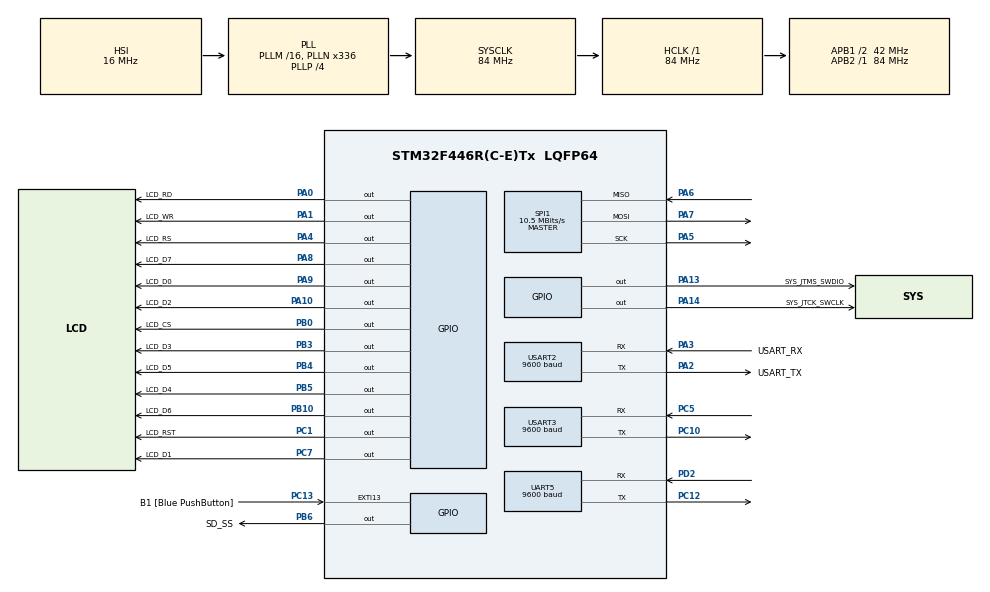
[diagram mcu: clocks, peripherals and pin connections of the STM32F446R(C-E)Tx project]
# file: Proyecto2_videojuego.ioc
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Dma.Request0=USART2_RX
Dma.Request1=USART2_TX
Dma.Request2=USART3_TX
Dma.Request3=USART3_RX
Dma.Request4=UART5_RX
Dma.Request5=UART5_TX
Dma.UART5_RX.4.Direction=DMA_PERIPH_TO_MEMORY
Dma.UART5_RX.4.FIFOMode=DMA_FIFOMODE_DISABLE
Dma.UART5_RX.4.Instance=DMA1_Stream0
Dma.UART5_RX.4.MemDataAlignment=DMA_MDATAALIGN_BYTE
Dma.UART5_RX.4.MemInc=DMA_MINC_ENABLE
Dma.UART5_RX.4.Mode=DMA_NORMAL
Dma.UART5_RX.4.PeriphDataAlignment=DMA_PDATAALIGN_BYTE
Dma.UART5_RX.4.PeriphInc=DMA_PINC_DISABLE
Dma.UART5_RX.4.Priority=DMA_PRIORITY_LOW
Dma.UART5_TX.5.Direction=DMA_MEMORY_TO_PERIPH
Dma.UART5_TX.5.FIFOMode=DMA_FIFOMODE_DISABLE
Dma.UART5_TX.5.Instance=DMA1_Stream7
Dma.UART5_TX.5.MemDataAlignment=DMA_MDATAALIGN_BYTE
Dma.UART5_TX.5.MemInc=DMA_MINC_ENABLE
Dma.UART5_TX.5.Mode=DMA_NORMAL
Dma.UART5_TX.5.PeriphDataAlignment=DMA_PDATAALIGN_BYTE
Dma.UART5_TX.5.PeriphInc=DMA_PINC_DISABLE
Dma.UART5_TX.5.Priority=DMA_PRIORITY_LOW
Dma.USART2_RX.0.Direction=DMA_PERIPH_TO_MEMORY
Dma.USART2_RX.0.FIFOMode=DMA_FIFOMODE_DISABLE
Dma.USART2_RX.0.Instance=DMA1_Stream5
Dma.USART2_RX.0.MemDataAlignment=DMA_MDATAALIGN_BYTE
Dma.USART2_RX.0.MemInc=DMA_MINC_ENABLE
Dma.USART2_RX.0.Mode=DMA_NORMAL
Dma.USART2_RX.0.PeriphDataAlignment=DMA_PDATAALIGN_BYTE
Dma.USART2_RX.0.PeriphInc=DMA_PINC_DISABLE
Dma.USART2_RX.0.Priority=DMA_PRIORITY_LOW
Dma.USART2_TX.1.Direction=DMA_MEMORY_TO_PERIPH
Dma.USART2_TX.1.FIFOMode=DMA_FIFOMODE_DISABLE
Dma.USART2_TX.1.Instance=DMA1_Stream6
Dma.USART2_TX.1.MemDataAlignment=DMA_MDATAALIGN_BYTE
Dma.USART2_TX.1.MemInc=DMA_MINC_ENABLE
Dma.USART2_TX.1.Mode=DMA_NORMAL
Dma.USART2_TX.1.PeriphDataAlignment=DMA_PDATAALIGN_BYTE
Dma.USART2_TX.1.PeriphInc=DMA_PINC_DISABLE
Dma.USART2_TX.1.Priority=DMA_PRIORITY_LOW
Dma.USART3_RX.3.Direction=DMA_PERIPH_TO_MEMORY
Dma.USART3_RX.3.FIFOMode=DMA_FIFOMODE_DISABLE
Dma.USART3_RX.3.Instance=DMA1_Stream1
Dma.USART3_RX.3.MemDataAlignment=DMA_MDATAALIGN_BYTE
Dma.USART3_RX.3.MemInc=DMA_MINC_ENABLE
Dma.USART3_RX.3.Mode=DMA_NORMAL
Dma.USART3_RX.3.PeriphDataAlignment=DMA_PDATAALIGN_BYTE
Dma.USART3_RX.3.PeriphInc=DMA_PINC_DISABLE
Dma.USART3_RX.3.Priority=DMA_PRIORITY_LOW
Dma.USART3_TX.2.Direction=DMA_MEMORY_TO_PERIPH
Dma.USART3_TX.2.FIFOMode=DMA_FIFOMODE_DISABLE
Dma.USART3_TX.2.Instance=DMA1_Stream3
Dma.USART3_TX.2.MemDataAlignment=DMA_MDATAALIGN_BYTE
Dma.USART3_TX.2.MemInc=DMA_MINC_ENABLE
Dma.USART3_TX.2.Mode=DMA_NORMAL
Dma.USART3_TX.2.PeriphDataAlignment=DMA_PDATAALIGN_BYTE
Dma.USART3_TX.2.PeriphInc=DMA_PINC_DISABLE
Dma.USART3_TX.2.Priority=DMA_PRIORITY_LOW
FATFS._MAX_SS=4096
FATFS._USE_LFN=1
Mcu.Family=STM32F4
Mcu.Name=STM32F446R(C-E)Tx
Mcu.Package=LQFP64
NVIC.DMA1_Stream0_IRQn=true\:0\:0\:false\:false\:true\:false\:true\:true
NVIC.DMA1_Stream1_IRQn=true\:0\:0\:false\:false\:true\:false\:true\:true
NVIC.DMA1_Stream3_IRQn=true\:0\:0\:false\:false\:true\:false\:true\:true
NVIC.DMA1_Stream5_IRQn=true\:0\:0\:false\:false\:true\:false\:true\:true
NVIC.DMA1_Stream6_IRQn=true\:0\:0\:false\:false\:true\:false\:true\:true
NVIC.DMA1_Stream7_IRQn=true\:0\:0\:false\:false\:true\:false\:true\:true
NVIC.PriorityGroup=NVIC_PRIORITYGROUP_0
PA0-WKUP.GPIO_Label=LCD_RD
PA0-WKUP.Signal=GPIO_Output
PA1.GPIO_Label=LCD_WR
PA1.Signal=GPIO_Output
PA10.GPIO_Label=LCD_D2
PA10.Signal=GPIO_Output
PA13.GPIO_Label=SYS_JTMS_SWDIO
PA13.Signal=GPIO_Output
PA14.GPIO_Label=SYS_JTCK_SWCLK
PA14.Signal=GPIO_Output
PA2.GPIO_Label=USART_TX
PA2.Mode=Asynchronous
PA2.Signal=USART2_TX
PA3.GPIO_Label=USART_RX
PA3.Mode=Asynchronous
PA3.Signal=USART2_RX
PA4.GPIO_Label=LCD_RS
PA4.Signal=GPIO_Output
PA5.Mode=Full_Duplex_Master
PA5.Signal=SPI1_SCK
PA6.Mode=Full_Duplex_Master
PA6.Signal=SPI1_MISO
PA7.Mode=Full_Duplex_Master
PA7.Signal=SPI1_MOSI
PA8.GPIO_Label=LCD_D7
PA8.Signal=GPIO_Output
PA9.GPIO_Label=LCD_D0
PA9.Signal=GPIO_Output
PB0.GPIO_Label=LCD_CS
PB0.Signal=GPIO_Output
PB10.GPIO_Label=LCD_D6
PB10.Signal=GPIO_Output
PB3.GPIO_Label=LCD_D3
PB3.Signal=GPIO_Output
PB4.GPIO_Label=LCD_D5
PB4.Signal=GPIO_Output
PB5.GPIO_Label=LCD_D4
PB5.Signal=GPIO_Output
PB6.GPIO_Label=SD_SS
PB6.Signal=GPIO_Output
PC1.GPIO_Label=LCD_RST
PC1.Signal=GPIO_Output
PC10.Mode=Asynchronous
PC10.Signal=USART3_TX
PC12.Mode=Asynchronous
PC12.Signal=UART5_TX
PC13.GPIO_Label=B1 [Blue PushButton]
PC13.GPIO_ModeDefaultEXTI=GPIO_MODE_IT_FALLING
PC13.Signal=GPXTI13
PC14-OSC32_IN.Mode=LSE-External-Oscillator
PC14-OSC32_IN.Signal=RCC_OSC32_IN
PC15-OSC32_OUT.Mode=LSE-External-Oscillator
PC15-OSC32_OUT.Signal=RCC_OSC32_OUT
PC5.Mode=Asynchronous
PC5.Signal=USART3_RX
PC7.GPIO_Label=LCD_D1
PC7.Signal=GPIO_Output
PD2.Mode=Asynchronous
PD2.Signal=UART5_RX
PH0-OSC_IN.Mode=HSE-External-Oscillator
PH0-OSC_IN.Signal=RCC_OSC_IN
PH1-OSC_OUT.Mode=HSE-External-Oscillator
PH1-OSC_OUT.Signal=RCC_OSC_OUT
ProjectManager.HeapSize=0x200
ProjectManager.StackSize=0x400
ProjectManager.TargetToolchain=STM32CubeIDE
RCC.48MHZClocksFreq_Value=84000000
RCC.AHBFreq_Value=84000000
RCC.APB1CLKDivider=RCC_HCLK_DIV2
RCC.APB1Freq_Value=42000000
RCC.APB1TimFreq_Value=84000000
RCC.APB2Freq_Value=84000000
RCC.APB2TimFreq_Value=84000000
RCC.CortexFreq_Value=84000000
RCC.FLatency-AdvancedSettings=FLASH_LATENCY_2
RCC.HCLKFreq_Value=84000000
RCC.HSE_VALUE=8000000
RCC.HSI_VALUE=16000000
RCC.PLLN=336
RCC.PLLP=RCC_PLLP_DIV4
RCC.SYSCLKFreq_VALUE=84000000
RCC.SYSCLKSource=RCC_SYSCLKSOURCE_PLLCLK
RCC.USBFreq_Value=168000000
RCC.VCOOutputFreq_Value=336000000
SPI1.BaudRatePrescaler=SPI_BAUDRATEPRESCALER_8
SPI1.CalculateBaudRate=10.5 MBits/s
SPI1.Direction=SPI_DIRECTION_2LINES
SPI1.Mode=SPI_MODE_MASTER
SPI1.VirtualType=VM_MASTER
UART5.BaudRate=9600
UART5.VirtualMode=Asynchronous
USART2.BaudRate=9600
USART2.VirtualMode=VM_ASYNC
USART3.BaudRate=9600
USART3.VirtualMode=VM_ASYNC
VP_FATFS_VS_Generic.Mode=User_defined
board=NUCLEO-F446RE

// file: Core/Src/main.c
/* USER CODE BEGIN Header */
/**
  ******************************************************************************
  * @file           : main.c
  * @brief          : Main program body
  ******************************************************************************
  * @attention
  *
  * Copyright (c) 2025 STMicroelectronics.
  * All rights reserved.
  *
  * This software is licensed under terms that can be found in the LICENSE file
  * in the root directory of this software component.
  * If no LICENSE file comes with this software, it is provided AS-IS.
  *
  ******************************************************************************
  */
/* USER CODE END Header */
#include "main.h"
#include "fatfs.h"

/* USER CODE BEGIN Includes */
#include <stdio.h>
#include <string.h>
#include "ili9341.h"
#include "Bitmaps.h"

#include "fatfs_sd.h"
#include "string.h"
#include "stdio.h"
/* USER CODE END Includes */

/* USER CODE BEGIN PD */

// COSAS PARA LA LECTURA DE LA TARJETA SD
FATFS fs;
FATFS *pfs;
FIL fil;
FRESULT fres;
DWORD fre_clust;
uint32_t totalSpace, freeSpace;
char buffer1[100];

/* USER CODE END PD */

SPI_HandleTypeDef hspi1;

UART_HandleTypeDef huart5;
UART_HandleTypeDef huart2;
UART_HandleTypeDef huart3;
DMA_HandleTypeDef hdma_uart5_rx;
DMA_HandleTypeDef hdma_uart5_tx;
DMA_HandleTypeDef hdma_usart2_rx;
DMA_HandleTypeDef hdma_usart2_tx;
DMA_HandleTypeDef hdma_usart3_tx;
DMA_HandleTypeDef hdma_usart3_rx;

/* USER CODE BEGIN PV */
extern unsigned char fondo[];

uint16_t buffer[10];
uint8_t temp[2];
uint16_t indx  = 0;
uint8_t flag_up = 0;
uint8_t flag_down = 0;
uint8_t flag_left = 0;
uint8_t flag_right = 0;
uint8_t flag_A = 0;
uint8_t flag_B = 0;
uint8_t flag_Start  = 0;
uint8_t flag_Select = 0;

uint8_t Up[] = "Up\r\n";
   uint8_t Down[] = "Down\r\n";
   uint8_t Left[] = "Left\r\n";
   uint8_t Right[] = "Right\r\n";
   uint8_t A[] = "A\r\n";
   uint8_t B[] = "B\r\n";
   uint8_t Hola[] = "Hola\r\n";

   // Coordenadas X y Y iniciales y otros valores constantes de samus al iniciar el juego
   const uint8_t x0 = 100;
   const uint8_t y0 = 175;
   const uint8_t h = 111; //175 - 64 (el doble de la altura de samus)

   //Coordenadas de Ridley
   const uint8_t x0r = 250;
   const uint8_t y0r = 162;
   uint8_t xr = 250;
   uint8_t yr = 162;

   //Coordenas X y Y que varían según la acción del control
   uint8_t xf = 100;
   uint8_t yf = 175;

   uint8_t flag_title = 0;

   uint8_t Estado_de_juego = 0;
#define INTRO 1
#define TRANSITION1 2
#define JUEGO 3
#define PAUSE 4
#define GameOver 5

uint8_t pruebas []= "pruebas.txt";

/* USER CODE END PV */

void SystemClock_Config(void);
static void MX_GPIO_Init(void);
static void MX_DMA_Init(void);
static void MX_USART2_UART_Init(void);
static void MX_SPI1_Init(void);
static void MX_USART3_UART_Init(void);
static void MX_UART5_Init(void);
/* USER CODE BEGIN PFP */

void MECHANICS(void);
void MECHANICS_Ridley(void);

//FUNCIÓN PARA MOSTRAR ESTADOS DE LECTURA DE LA TARJETA SD
void transmit_uart(char *string){
	uint8_t len = strlen(string);
	HAL_UART_Transmit(&huart2, (uint8_t*) string , len, 200);
}

/* USER CODE END PFP */

int main(void)
{

  /* MCU Configuration--------------------------------------------------------*/

  /* Reset of all peripherals, Initializes the Flash interface and the Systick. */
  HAL_Init();

  /* Configure the system clock */
  SystemClock_Config();

  /* Initialize all configured peripherals */
  MX_GPIO_Init();
  MX_DMA_Init();
  MX_USART2_UART_Init();
  MX_SPI1_Init();
  MX_USART3_UART_Init();
  MX_FATFS_Init();
  MX_UART5_Init();
  /* USER CODE BEGIN 2 */

    LCD_Init();

  	LCD_Clear(0x00);
  	FillRect(0, 0, 319, 239, 0xFFFF);

  	Estado_de_juego = INTRO;
  	//LCD_Sprite(0, 0, 319, 240, Title_screen_1, 1, 0, 0, 0);
  	HAL_Delay(100);

  	HAL_UART_Receive_DMA(&huart2, temp, 1);
  	HAL_UART_Receive_DMA(&huart3, temp, 1);

  	//Condiciones iniciles
  	xf = x0;
  	yf = y0;

  	xr = x0r;
  	yr = y0r;

  /* USER CODE END 2 */

  /* Infinite loop */
  /* USER CODE BEGIN WHILE */
  while (1)
  {

	  switch (Estado_de_juego){
	  case INTRO:

		  HAL_UART_Transmit(&huart5, 1, 8, HAL_MAX_DELAY);

		  LCD_Sprite(0, 0, 319, 240, Title_screen_8, 1, 0, 0, 0);

		  if (flag_title == 1){
			  Estado_de_juego = TRANSITION1;
		  }

		  HAL_Delay(100);
		  break;
	  case TRANSITION1:
		  FillRect(0, 0, 319, 206, 0x0000);
		  for (int x = 0; x < 319; x++) {
		    LCD_Bitmap(x, 207, 16, 16, tile_brinstar1);
		    LCD_Bitmap(x, 223, 16, 16, tile_brinstar1);
		    x += 15;
		  }

		  Estado_de_juego = JUEGO;
		  break;

	  case JUEGO:
		  HAL_UART_Transmit(&huart5, 2, 8,HAL_MAX_DELAY);
		  MECHANICS_Ridley();
		  MECHANICS();

	  	  break;
	  case GameOver:
		  LCD_Clear(0x00);
		  //FillRect(0, 0, 319, 239, 0xFFFF);
		  LCD_Sprite(159, 120, 81, 9, GameOver, 1, 0, 0, 0);
		  HAL_Delay(1000);
		  Estado_de_juego = INTRO;

		  break;

	  }

    /* USER CODE END WHILE */

  }
}

void SystemClock_Config(void)
{
  RCC_OscInitTypeDef RCC_OscInitStruct = {0};
  RCC_ClkInitTypeDef RCC_ClkInitStruct = {0};

  /** Configure the main internal regulator output voltage
  */
  __HAL_RCC_PWR_CLK_ENABLE();
  __HAL_PWR_VOLTAGESCALING_CONFIG(PWR_REGULATOR_VOLTAGE_SCALE3);

  /** Initializes the RCC Oscillators according to the specified parameters
  * in the RCC_OscInitTypeDef structure.
  */
  RCC_OscInitStruct.OscillatorType = RCC_OSCILLATORTYPE_HSI;
  RCC_OscInitStruct.HSIState = RCC_HSI_ON;
  RCC_OscInitStruct.HSICalibrationValue = RCC_HSICALIBRATION_DEFAULT;
  RCC_OscInitStruct.PLL.PLLState = RCC_PLL_ON;
  RCC_OscInitStruct.PLL.PLLSource = RCC_PLLSOURCE_HSI;
  RCC_OscInitStruct.PLL.PLLM = 16;
  RCC_OscInitStruct.PLL.PLLN = 336;
  RCC_OscInitStruct.PLL.PLLP = RCC_PLLP_DIV4;
  RCC_OscInitStruct.PLL.PLLQ = 2;
  RCC_OscInitStruct.PLL.PLLR = 2;
  if (HAL_RCC_OscConfig(&RCC_OscInitStruct) != HAL_OK)
  {
    Error_Handler();
  }

  /** Initializes the CPU, AHB and APB buses clocks
  */
  RCC_ClkInitStruct.ClockType = RCC_CLOCKTYPE_HCLK|RCC_CLOCKTYPE_SYSCLK
                              |RCC_CLOCKTYPE_PCLK1|RCC_CLOCKTYPE_PCLK2;
  RCC_ClkInitStruct.SYSCLKSource = RCC_SYSCLKSOURCE_PLLCLK;
  RCC_ClkInitStruct.AHBCLKDivider = RCC_SYSCLK_DIV1;
  RCC_ClkInitStruct.APB1CLKDivider = RCC_HCLK_DIV2;
  RCC_ClkInitStruct.APB2CLKDivider = RCC_HCLK_DIV1;

  if (HAL_RCC_ClockConfig(&RCC_ClkInitStruct, FLASH_LATENCY_2) != HAL_OK)
  {
    Error_Handler();
  }
}

static void MX_SPI1_Init(void)
{

  /* SPI1 parameter configuration*/
  hspi1.Instance = SPI1;
  hspi1.Init.Mode = SPI_MODE_MASTER;
  hspi1.Init.Direction = SPI_DIRECTION_2LINES;
  hspi1.Init.DataSize = SPI_DATASIZE_8BIT;
  hspi1.Init.CLKPolarity = SPI_POLARITY_LOW;
  hspi1.Init.CLKPhase = SPI_PHASE_1EDGE;
  hspi1.Init.NSS = SPI_NSS_SOFT;
  hspi1.Init.BaudRatePrescaler = SPI_BAUDRATEPRESCALER_8;
  hspi1.Init.FirstBit = SPI_FIRSTBIT_MSB;
  hspi1.Init.TIMode = SPI_TIMODE_DISABLE;
  hspi1.Init.CRCCalculation = SPI_CRCCALCULATION_DISABLE;
  hspi1.Init.CRCPolynomial = 10;
  if (HAL_SPI_Init(&hspi1) != HAL_OK)
  {
    Error_Handler();
  }

}

static void MX_UART5_Init(void)
{

  huart5.Instance = UART5;
  huart5.Init.BaudRate = 9600;
  huart5.Init.WordLength = UART_WORDLENGTH_8B;
  huart5.Init.StopBits = UART_STOPBITS_1;
  huart5.Init.Parity = UART_PARITY_NONE;
  huart5.Init.Mode = UART_MODE_TX_RX;
  huart5.Init.HwFlowCtl = UART_HWCONTROL_NONE;
  huart5.Init.OverSampling = UART_OVERSAMPLING_16;
  if (HAL_UART_Init(&huart5) != HAL_OK)
  {
    Error_Handler();
  }

}

static void MX_USART2_UART_Init(void)
{

  huart2.Instance = USART2;
  huart2.Init.BaudRate = 9600;
  huart2.Init.WordLength = UART_WORDLENGTH_8B;
  huart2.Init.StopBits = UART_STOPBITS_1;
  huart2.Init.Parity = UART_PARITY_NONE;
  huart2.Init.Mode = UART_MODE_TX_RX;
  huart2.Init.HwFlowCtl = UART_HWCONTROL_NONE;
  huart2.Init.OverSampling = UART_OVERSAMPLING_16;
  if (HAL_UART_Init(&huart2) != HAL_OK)
  {
    Error_Handler();
  }

}

static void MX_USART3_UART_Init(void)
{

  huart3.Instance = USART3;
  huart3.Init.BaudRate = 9600;
  huart3.Init.WordLength = UART_WORDLENGTH_8B;
  huart3.Init.StopBits = UART_STOPBITS_1;
  huart3.Init.Parity = UART_PARITY_NONE;
  huart3.Init.Mode = UART_MODE_TX_RX;
  huart3.Init.HwFlowCtl = UART_HWCONTROL_NONE;
  huart3.Init.OverSampling = UART_OVERSAMPLING_16;
  if (HAL_UART_Init(&huart3) != HAL_OK)
  {
    Error_Handler();
  }

}

static void MX_DMA_Init(void)
{

  /* DMA controller clock enable */
  __HAL_RCC_DMA1_CLK_ENABLE();

  /* DMA interrupt init */
  /* DMA1_Stream0_IRQn interrupt configuration */
  HAL_NVIC_SetPriority(DMA1_Stream0_IRQn, 0, 0);
  HAL_NVIC_EnableIRQ(DMA1_Stream0_IRQn);
  /* DMA1_Stream1_IRQn interrupt configuration */
  HAL_NVIC_SetPriority(DMA1_Stream1_IRQn, 0, 0);
  HAL_NVIC_EnableIRQ(DMA1_Stream1_IRQn);
  /* DMA1_Stream3_IRQn interrupt configuration */
  HAL_NVIC_SetPriority(DMA1_Stream3_IRQn, 0, 0);
  HAL_NVIC_EnableIRQ(DMA1_Stream3_IRQn);
  /* DMA1_Stream5_IRQn interrupt configuration */
  HAL_NVIC_SetPriority(DMA1_Stream5_IRQn, 0, 0);
  HAL_NVIC_EnableIRQ(DMA1_Stream5_IRQn);
  /* DMA1_Stream6_IRQn interrupt configuration */
  HAL_NVIC_SetPriority(DMA1_Stream6_IRQn, 0, 0);
  HAL_NVIC_EnableIRQ(DMA1_Stream6_IRQn);
  /* DMA1_Stream7_IRQn interrupt configuration */
  HAL_NVIC_SetPriority(DMA1_Stream7_IRQn, 0, 0);
  HAL_NVIC_EnableIRQ(DMA1_Stream7_IRQn);

}

static void MX_GPIO_Init(void)
{
  GPIO_InitTypeDef GPIO_InitStruct = {0};

  /* GPIO Ports Clock Enable */
  __HAL_RCC_GPIOC_CLK_ENABLE();
  __HAL_RCC_GPIOH_CLK_ENABLE();
  __HAL_RCC_GPIOA_CLK_ENABLE();
  __HAL_RCC_GPIOB_CLK_ENABLE();
  __HAL_RCC_GPIOD_CLK_ENABLE();

  /*Configure GPIO pin Output Level */
  HAL_GPIO_WritePin(GPIOC, LCD_RST_Pin|LCD_D1_Pin, GPIO_PIN_RESET);

  /*Configure GPIO pin Output Level */
  HAL_GPIO_WritePin(GPIOA, LCD_RD_Pin|LCD_WR_Pin|LCD_RS_Pin|LCD_D7_Pin
                          |LCD_D0_Pin|LCD_D2_Pin|SYS_JTMS_SWDIO_Pin|SYS_JTCK_SWCLK_Pin, GPIO_PIN_RESET);

  /*Configure GPIO pin Output Level */
  HAL_GPIO_WritePin(GPIOB, LCD_CS_Pin|LCD_D6_Pin|LCD_D3_Pin|LCD_D5_Pin
                          |LCD_D4_Pin|SD_SS_Pin, GPIO_PIN_RESET);

  /*Configure GPIO pin : B1_Pin */
  GPIO_InitStruct.Pin = B1_Pin;
  GPIO_InitStruct.Mode = GPIO_MODE_IT_FALLING;
  GPIO_InitStruct.Pull = GPIO_NOPULL;
  HAL_GPIO_Init(B1_GPIO_Port, &GPIO_InitStruct);

  /*Configure GPIO pins : LCD_RST_Pin LCD_D1_Pin */
  GPIO_InitStruct.Pin = LCD_RST_Pin|LCD_D1_Pin;
  GPIO_InitStruct.Mode = GPIO_MODE_OUTPUT_PP;
  GPIO_InitStruct.Pull = GPIO_NOPULL;
  GPIO_InitStruct.Speed = GPIO_SPEED_FREQ_LOW;
  HAL_GPIO_Init(GPIOC, &GPIO_InitStruct);

  /*Configure GPIO pins : LCD_RD_Pin LCD_WR_Pin LCD_RS_Pin LCD_D7_Pin
                           LCD_D0_Pin LCD_D2_Pin SYS_JTMS_SWDIO_Pin SYS_JTCK_SWCLK_Pin */
  GPIO_InitStruct.Pin = LCD_RD_Pin|LCD_WR_Pin|LCD_RS_Pin|LCD_D7_Pin
                          |LCD_D0_Pin|LCD_D2_Pin|SYS_JTMS_SWDIO_Pin|SYS_JTCK_SWCLK_Pin;
  GPIO_InitStruct.Mode = GPIO_MODE_OUTPUT_PP;
  GPIO_InitStruct.Pull = GPIO_NOPULL;
  GPIO_InitStruct.Speed = GPIO_SPEED_FREQ_LOW;
  HAL_GPIO_Init(GPIOA, &GPIO_InitStruct);

  /*Configure GPIO pins : LCD_CS_Pin LCD_D6_Pin LCD_D3_Pin LCD_D5_Pin
                           LCD_D4_Pin SD_SS_Pin */
  GPIO_InitStruct.Pin = LCD_CS_Pin|LCD_D6_Pin|LCD_D3_Pin|LCD_D5_Pin
                          |LCD_D4_Pin|SD_SS_Pin;
  GPIO_InitStruct.Mode = GPIO_MODE_OUTPUT_PP;
  GPIO_InitStruct.Pull = GPIO_NOPULL;
  GPIO_InitStruct.Speed = GPIO_SPEED_FREQ_LOW;
  HAL_GPIO_Init(GPIOB, &GPIO_InitStruct);

}

/* USER CODE BEGIN 4 */
void MECHANICS (void){

//*********************** ACCION DE LA FECHA DERECHA *************************************************************************

	if (flag_right == 1){

		for (int var = 0; var < 20; var++ ) {
		  int anim = (var/5)% 4; //Me entrega los valores para los indices de la animacion de samus
		  if (xf < 319 - 20){
			xf ++;

			LCD_Sprite(xf, yf, 20, 32, samus_Idle_walk,4, anim, 0, 0);
		    V_line(xf - 1, yf, 32, 0x0000);

		    HAL_Delay(5);
		   }
	     }
		flag_right = 0;
	  }

//*********************** ACCION DE LA FECHA IZQUIERDA *************************************************************************
	  if (flag_left == 1){
	 		for (int var = 0; var < 20; var++ ) {
	 		  int anim = (var/5)% 4; //Me entrega los valores para los indices de la animacion de samus

	 		  if (xf < 319 - 20){
	 			xf --;

	 		    LCD_Sprite(xf, 175, 20, 32, samus_Idle_walk,4, anim, 1, 0);
	 		    V_line(xf +21, 175, 32, 0x0000);

	 		    HAL_Delay(5);
	 		 }

	 		  //if (position_X == 20){position_X = 0;}
	 	   }
	 		flag_left = 0;
	 	  }

//*********************** ACCION DE SALTO *************************************************************************

	  if (flag_A == 1){

		  for (yf = y0; yf > h; yf --) {

			  LCD_Sprite(xf, yf, 18, 25, samus_jump, 1, 0, 0, 0);
			 // LCD_Sprite(x, y, width, height, bitmap, columns, index, flip, offset)
			 // H_line(x, y, l, c)
			  H_line(xf, yf + 26, 18, 0x0000);
			  V_line(xf +19, yf, 32, 0x0000);
			  V_line(xf +20, yf, 32, 0x0000);
			  V_line(xf +21, yf, 32, 0x0000);
			 V_line(xf -1, yf, 32, 0x0000);
			 V_line(xf -2, yf, 32, 0x0000);

			  HAL_Delay(5);
			  //xf++;

			  if (flag_right == 1){
				  xf = xf + 2;
				  flag_right = 0;
			  } else if (flag_left == 1){
				  xf = xf - 2;
				  flag_left = 0;
			  }

		}

		  for (yf = h; yf < y0; yf ++) {
		  		LCD_Sprite(xf, yf, 18, 25, samus_jump, 1, 0, 0, 0);
		    	H_line(xf, yf , 18, 0x0000);
		    	V_line(xf +19, yf, 32, 0x0000);
		    	V_line(xf +20, yf, 32, 0x0000);
		    	V_line(xf +21, yf, 32, 0x0000);
		    	V_line(xf -1, yf, 32, 0x0000);
		    	V_line(xf -2, yf, 32, 0x0000);
		  		HAL_Delay(5);

		  		if (flag_right == 1){
		  			xf = xf+2;
		 			flag_right = 0;
		  		} else if (flag_left == 1){
		  			xf=xf-2;
		  			flag_left = 0;
		  		  }

		  }

		  flag_A  = 0;

	  }

//*********************** ACCION DE DISPARO *************************************************************************

	  if (flag_B == 1){
		  if (flag_right == 1){

		  }

		  if (flag_left == 1){

		  }

		  if (flag_up == 1){

		  }

		  if (flag_down == 1){

		  }

	  }

}

void MECHANICS_Ridley(void){
	//LCD_Sprite(x, y, width, height, bitmap, columns, index, flip, offset)
	LCD_Sprite(xr, yr, 31, 46, ridley, 6, 1, 1, 0);

	if (xf >= 250 ){
		Estado_de_juego = GameOver;
		xf = x0;
	}
}

void HAL_UART_RxCpltCallback(UART_HandleTypeDef *huart){

	memcpy (buffer + indx, temp, 1);
	++indx;
	if(indx >= 10){
		indx = 0;
	}

    HAL_UART_Receive_DMA(&huart2, temp, 1);

	HAL_UART_Receive_DMA(&huart3, temp, 1);

//--------------------------Inicio del bloque para transmitir------------------------------------------------------------
		for(int i = 0; i < 10; i++) {
			if (buffer[i] == 117){   //117 es ASCII de u
						flag_up = 1;
						buffer[i] = 0;
					}

			if (buffer[i] == 100){   //100 es ASCII de d
						flag_down = 1;
						buffer[i] = 0;

					}

			if (buffer[i] == 108){   //108 es ASCII de l
						flag_left = 1;
						buffer[i] = 0;
					}

			if (buffer[i] == 114){   //114 es ASCII de l
						flag_right = 1;
						buffer[i] = 0;
					}

			if (buffer[i] == 65){   //65 es ASCII de l
				    	flag_A = 1;
				    	buffer[i] = 0;
					}

			if (buffer[i] == 66){   //66 es ASCII de l
						flag_B = 1;
						buffer[i] = 0;
			 }

			if (buffer[i] == 83){ //83 es ASCII de s mayúscula
				flag_Start = 1;
				flag_title = 1;
				buffer[i] = 0;
			}

			if (buffer[i] == 115){ //115 es ASCII de s minúscula
				flag_Select = 1;
				//Estado_de_juego = PAUSE;
				buffer[i] = 0;
			}

		    } //Fin del for

	  if (flag_up == 1){
		  //HAL_UART_Transmit(&huart2, Up, sizeof(Up), 2000);
		  HAL_UART_Transmit_DMA(&huart2, Up, sizeof(Up));
		  //flag_title = 1;
		  	 //LCD_Bitmap(100, 50, 20, 32, Samus_Stand);

		  //flag_up = 0;
		  }

	  if (flag_down == 1){
		  HAL_UART_Transmit(&huart2, Down, sizeof(Down), 2000);
		  //flag_title = 1;
		  //flag_down = 0;
		  }

	  if (flag_left == 1){
		  HAL_UART_Transmit(&huart2, Left, sizeof(Left), 2000);
		  //flag_title = 1;
		  //flag_left = 0;
		  }

	  if (flag_right == 1){
		  HAL_UART_Transmit(&huart2, Right, sizeof(Right), 2000);
		  //flag_title = 1;
		  // flag_right = 0;
		  }

	  if (flag_A == 1){
		  HAL_UART_Transmit(&huart2, A, sizeof(A), 2000);
		  //flag_title = 1;
		  //flag_A = 0;
		  }

	   if (flag_B == 1){
		   HAL_UART_Transmit(&huart2, B, sizeof(B), 2000);
		   //flag_title = 1;
		   //flag_B = 0;
		   }
	   ;
//--------------------------Fin del bloque para transmitir-------------------

}
/* USER CODE END 4 */

void Error_Handler(void)
{
  __disable_irq();
  while (1)
  {
  }
}
